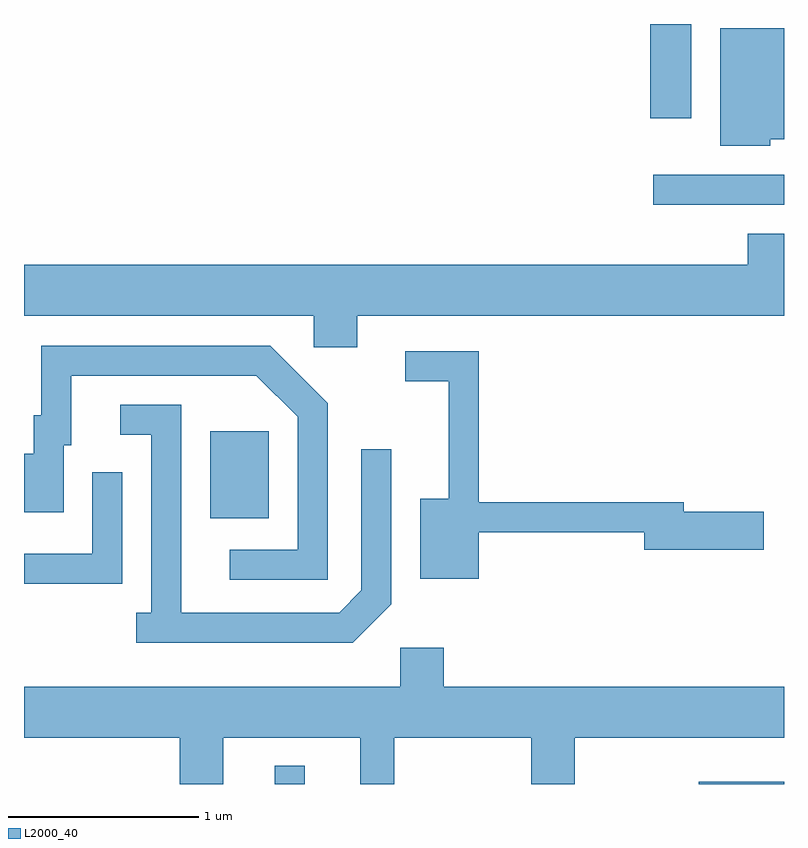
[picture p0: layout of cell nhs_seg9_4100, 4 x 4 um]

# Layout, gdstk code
import gdstk
lib = gdstk.Library(unit=1e-6, precision=1e-09)
def R(c, l, rs):  # rectangles x0, y0, x1, y1
    for r in rs: c.add(gdstk.rectangle(r[:2], r[2:], *l))
def P(c, l, *ps):  # polygons
    for p in ps: c.add(gdstk.Polygon(p, *l))
L2000_40 = (2000, 40)

nhs_seg9_4100 = lib.new_cell('nhs_seg9_4100')
R(nhs_seg9_4100, L2000_40, [(306.931,2020.432,307.089,2020.528), (309.163,2020.432,309.611,2020.444), (306.591,2021.831,306.899,2022.289), (308.923,2023.481,309.611,2023.639), (308.906,2023.936,309.124,2024.432)])
P(nhs_seg9_4100, L2000_40, [(309.539,2023.826),(309.611,2023.826),(309.611,2024.409),(309.276,2024.409),(309.276,2023.791),(309.539,2023.791)],
  [(307.364,2022.896),(309.611,2022.896),(309.611,2023.329),(309.421,2023.329),(309.421,2023.164),(305.611,2023.164),(305.611,2022.896),(307.136,2022.896),(307.136,2022.731),(307.364,2022.731)],
  [(307.209,2022.437),(306.907,2022.739),(305.701,2022.739),(305.701,2022.374),(305.661,2022.374),(305.661,2022.169),(305.611,2022.169),(305.611,2021.861),(305.819,2021.861),(305.819,2022.216),(305.859,2022.216),(305.859,2022.581),(306.834,2022.581),(307.051,2022.364),(307.051,2021.664),(306.693,2021.664),(306.693,2021.506),(307.209,2021.506)],
  [(308.004,2021.756),(308.876,2021.756),(308.876,2021.666),(309.504,2021.666),(309.504,2021.864),(309.084,2021.864),(309.084,2021.914),(308.004,2021.914),(308.004,2022.709),(307.618,2022.709),(307.618,2022.551),(307.846,2022.551),(307.846,2021.934),(307.696,2021.934),(307.696,2021.511),(308.004,2021.511)],
  [(307.544,2021.379),(307.544,2022.193),(307.386,2022.193),(307.386,2021.452),(307.269,2021.334),(306.439,2021.334),(306.439,2022.429),(306.118,2022.429),(306.118,2022.271),(306.281,2022.271),(306.281,2021.334),(306.203,2021.334),(306.203,2021.176),(307.342,2021.176)],
  [(306.129,2022.073),(305.971,2022.073),(305.971,2021.644),(305.611,2021.644),(305.611,2021.486),(306.129,2021.486)],
  [(306.659,2020.676),(307.381,2020.676),(307.381,2020.432),(307.559,2020.432),(307.559,2020.676),(308.281,2020.676),(308.281,2020.432),(308.509,2020.432),(308.509,2020.676),(309.611,2020.676),(309.611,2020.944),(307.819,2020.944),(307.819,2021.149),(307.591,2021.149),(307.591,2020.944),(305.611,2020.944),(305.611,2020.676),(306.431,2020.676),(306.431,2020.432),(306.659,2020.432)])

lib.write_gds('nhs_seg9_4100.gds')
